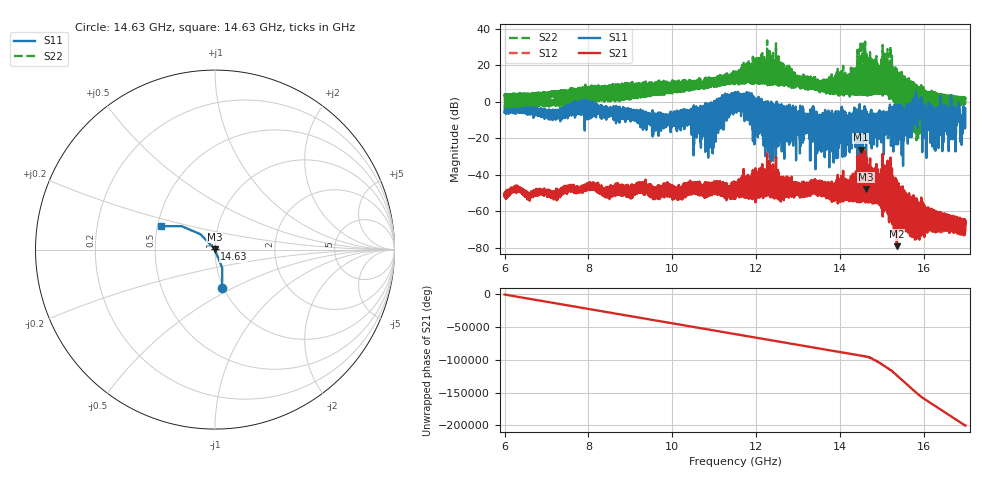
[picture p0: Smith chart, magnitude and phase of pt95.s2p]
#  HZ  S  RI  R  50.00
! Rohde & Schwarz Vector Network Analyzer
! Rohde-Schwarz,ZNA67-2Port,1332450062101215,3.01
! Created: UTC 10/19/2026, 11:27:32 AM
! freq[Hz]  re:S11  im:S11  re:S21  im:S21  re:S12  im:S12  re:S22  im:S22
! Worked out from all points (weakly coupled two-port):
!   11001 points, 6 GHz to 17 GHz, reference 50 ohm
!   highest |S21| = -26.23 dB at 14.5 GHz (marker M1); lowest = -79.0 dB at 15.37 GHz (marker M2)
!   lowest |S11| = -47.7 dB at 14.63 GHz (marker M3), VSWR 1.01, Z = 49.8 + j0.335 ohm
!   |S11| at or under -10 dB: 13.46863 GHz to 13.49471 GHz (26.07 MHz wide, 0.193 % of centre); 13.60942 GHz to 13.63384 GHz (24.42 MHz wide, 0.179 % of centre); 13.92232 GHz to 13.94851 GHz (26.19 MHz wide, 0.188 % of centre) (the widest 3 of 518)
!   |S22| runs from -21.1 to 33.6 dB; largest |S21 - S12| = 0.0026
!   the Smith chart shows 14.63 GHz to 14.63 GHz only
!   S11 on the Smith chart (normalised r, x): 14.63 GHz: 0.99, -0.44; 14.63 GHz: 1.00, +0.01; 14.63 GHz: 0.52, +0.15
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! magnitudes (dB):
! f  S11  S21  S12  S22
! 6 GHz  -5.7  -50.7  -50.7  3.0
! 6.271 GHz  -5.0  -48.1  -48.1  3.9
! 7.184 GHz  -4.6  -52.0  -51.9  1.7
! 7.834 GHz  -3.3  -47.1  -46.9  7.2
! 9.667 GHz  -6.2  -47.0  -47.0  11.4
! 10.87 GHz  -1.7  -50.9  -50.7  8.4
! 11.5 GHz  5.0  -50.1  -49.9  12.5
! 12.46 GHz  -5.6  -48.6  -48.6  12.0
! 13.33 GHz  -12.4  -48.0  -47.8  9.0
! 13.8 GHz  -6.9  -51.7  -51.5  5.4
! 14.5 GHz  -35.9  -26.2  -26.3  33.4
! 14.63 GHz  -13.3  -45.2  -45.4  13.2
! 14.63 GHz  -47.7  -50.7  -50.7  8.0
! 14.63 GHz  -9.7  -42.4  -42.4  15.9
! 15.17 GHz  -14.4  -57.6  -57.6  6.2
! 15.37 GHz  -20.1  -79.0  -78.8  -0.2
! 15.68 GHz  -2.3  -55.9  -55.4  6.8
! 15.8 GHz  -5.9  -75.3  -75.4  -16.9
! 16.04 GHz  -5.1  -60.8  -60.8  3.5
! 16.69 GHz  -16.8  -65.7  -65.5  1.4
! 16.91 GHz  -18.5  -65.0  -65.0  1.8
! 17 GHz  -3.7  -67.1  -66.9  1.6
